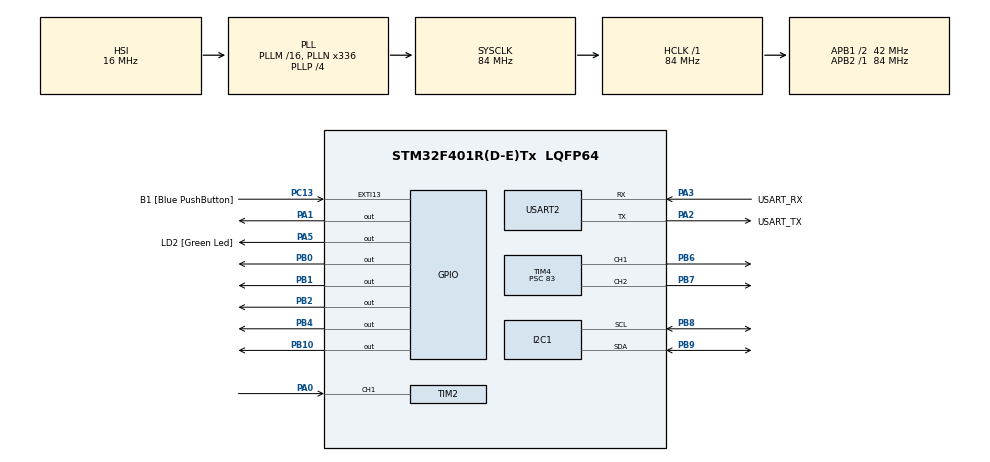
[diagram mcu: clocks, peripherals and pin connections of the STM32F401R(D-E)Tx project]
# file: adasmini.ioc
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Mcu.Family=STM32F4
PA2.GPIO_PuPd=GPIO_NOPULL
RCC.CortexFreq_Value=84000000
TIM2.Channel-Input_Capture1_from_TI1=TIM_CHANNEL_1
PA14.GPIO_Label=TCK
PA3.GPIO_PuPd=GPIO_NOPULL
PA2.GPIO_Speed=GPIO_SPEED_FREQ_LOW
PA3.GPIO_Speed=GPIO_SPEED_FREQ_LOW
RCC.SYSCLKSource=RCC_SYSCLKSOURCE_PLLCLK
ProjectManager.StackSize=0x400
TIM1.Prescaler=83
PH0\ -\ OSC_IN.Signal=RCC_OSC_IN
RCC.HCLKFreq_Value=84000000
RCC.APB2TimFreq_Value=84000000
PB6.Signal=S_TIM4_CH1
RCC.AHBFreq_Value=84000000
RCC.HSE_VALUE=8000000
PB2.Signal=GPIO_Output
PC13-ANTI_TAMP.Signal=GPXTI13
PC14-OSC32_IN.Mode=LSE-External-Oscillator
PA14.Mode=Serial_Wire
PA5.GPIO_PuPd=GPIO_NOPULL
NVIC.TIM2_IRQn=true\:0\:0\:false\:false\:true\:true\:true
SH.S_TIM4_CH2.0=TIM4_CH2,PWM Generation2 CH2
PB7.Signal=S_TIM4_CH2
TIM4.Period=999
VP_TIM1_VS_ClockSourceINT.Mode=Internal
PB9.Signal=I2C1_SDA
Mcu.Package=LQFP64
TIM2.Prescaler=83
PB1.Signal=GPIO_Output
USART2.VirtualMode=VM_ASYNC
PA2.GPIO_Label=USART_TX
SH.S_TIM4_CH1.0=TIM4_CH1,PWM Generation1 CH1
RCC.APB1TimFreq_Value=84000000
PB4.Signal=GPIO_Output
PA3.Signal=USART2_RX
PA2.GPIO_Mode=GPIO_MODE_AF_PP
PB3.GPIO_Label=SWO
TIM4.Channel-PWM\ Generation1\ CH1=TIM_CHANNEL_1
PC15-OSC32_OUT.Mode=LSE-External-Oscillator
PC13-ANTI_TAMP.GPIO_PuPd=GPIO_NOPULL
PC13-ANTI_TAMP.GPIO_Label=B1 [Blue PushButton]
PH1\ -\ OSC_OUT.Mode=HSE-External-Clock-Source
RCC.APB1CLKDivider=RCC_HCLK_DIV2
PC14-OSC32_IN.Signal=RCC_OSC32_IN
PA0-WKUP.Signal=S_TIM2_CH1_ETR
PA13.Signal=SYS_JTMS-SWDIO
PA3.Mode=Asynchronous
PH0\ -\ OSC_IN.Mode=HSE-External-Clock-Source
ProjectManager.TargetToolchain=STM32CubeIDE
PA3.GPIO_Mode=GPIO_MODE_AF_PP
PB9.Mode=I2C
TIM4.Prescaler=83
PC15-OSC32_OUT.Signal=RCC_OSC32_OUT
PA1.Signal=GPIO_Output
PB10.Signal=GPIO_Output
PA5.Signal=GPIO_Output
PH1\ -\ OSC_OUT.Signal=RCC_OSC_OUT
board=NUCLEO-F401RE
RCC.VCOOutputFreq_Value=336000000
TIM4.Channel-PWM\ Generation2\ CH2=TIM_CHANNEL_2
RCC.APB2Freq_Value=84000000
VP_TIM2_VS_ClockSourceINT.Mode=Internal
PA13.Mode=Serial_Wire
Mcu.Name=STM32F401R(D-E)Tx
PA13.GPIO_Label=TMS
PA2.Signal=USART2_TX
RCC.48MHZClocksFreq_Value=48000000
PB3.Signal=SYS_JTDO-SWO
RCC.SYSCLKFreq_VALUE=84000000
PA5.GPIO_Label=LD2 [Green Led]
PC13-ANTI_TAMP.GPIO_ModeDefaultEXTI=GPIO_MODE_IT_FALLING
SH.S_TIM2_CH1_ETR.0=TIM2_CH1,Input_Capture1_from_TI1
PA14.Signal=SYS_JTCK-SWCLK
ProjectManager.HeapSize=0x200
RCC.HSI_VALUE=16000000
VP_TIM4_VS_ClockSourceINT.Mode=Internal
RCC.PLLP=RCC_PLLP_DIV4
PA5.GPIO_Speed=GPIO_SPEED_FREQ_LOW
RCC.PLLQ=7
NVIC.PriorityGroup=NVIC_PRIORITYGROUP_0
PB8.Mode=I2C
RCC.PLLN=336
PA2.Mode=Asynchronous
PB8.Signal=I2C1_SCL
RCC.APB1Freq_Value=42000000
PA5.GPIO_Mode=GPIO_MODE_OUTPUT_PP
PB0.Signal=GPIO_Output
PA3.GPIO_Label=USART_RX

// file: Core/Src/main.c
/* USER CODE BEGIN Header */
/**
  * ****************************************************************************
  * @file           : main.c
  * @brief          : Main program body optimized for 16MHz System Clock
  * (Register-level logic with CubeMX Init)
  * ****************************************************************************
  */
/* USER CODE END Header */
#include "main.h"

/* USER CODE BEGIN Includes */
#include <stdio.h>
#include <string.h>
#include <math.h>
/* USER CODE END Includes */

/* USER CODE BEGIN PD */
#define SLAVE_ADDRESS_LCD (0x27 << 1)
/* USER CODE END PD */

I2C_HandleTypeDef hi2c1;

TIM_HandleTypeDef htim1;
TIM_HandleTypeDef htim2;
TIM_HandleTypeDef htim4;

UART_HandleTypeDef huart2;

/* USER CODE BEGIN PV */
volatile uint32_t IC_Val1 = 0;
volatile uint32_t IC_Val2 = 0;
volatile uint32_t Difference = 0;
volatile uint8_t Is_First_Captured = 0;
volatile int Distance_cm = 0;

#define MOTOR_RIGHT_CALIBRATION  0.91

int current_pwm = 0;     // Muc PWM hien tai (0 - 1000)
float v_current = 0.0;   // Toc do uoc luong (cm/s)
float d_safe = 0.0;      // Khoang cach an toan tinh toan
/* USER CODE END PV */

void SystemClock_Config(void);
static void MX_GPIO_Init(void);
static void MX_USART2_UART_Init(void);
static void MX_I2C1_Init(void);
static void MX_TIM1_Init(void);
static void MX_TIM2_Init(void);
static void MX_TIM4_Init(void);
/* USER CODE BEGIN PFP */
void delay_us(uint16_t us);
void HCSR04_Read(void);
void LCD_SendCommand(char cmd);
void LCD_SendData(char data);
void LCD_Init(void);
void LCD_SendString(char *str);
void LCD_Clear(void);
/* USER CODE END PFP */

int main(void)
{

  /* MCU Configuration--------------------------------------------------------*/

  /* Reset of all peripherals, Initializes the Flash interface and the Systick. */
  HAL_Init();

  /* Configure the system clock */
  SystemClock_Config();

  /* Initialize all configured peripherals */
  MX_GPIO_Init();
  MX_USART2_UART_Init();
  MX_I2C1_Init();
  MX_TIM1_Init();
  MX_TIM2_Init();
  MX_TIM4_Init();
  /* USER CODE BEGIN 2 */

  // 1. Khoi dong Timer delay va Ngat Input Capture bang THANH GHI
  TIM1->CR1 |= TIM_CR1_CEN;           // Bat Timer 1 (tuong duong HAL_TIM_Base_Start)

  // Cấu hình bắt CẢ HAI CẠNH (Both Edges): Set cả bit CC1P và CC1NP
    TIM2->CCER |= (TIM_CCER_CC1P | TIM_CCER_CC1NP);

  TIM2->CCER |= TIM_CCER_CC1E;        // Bat Input Capture Channel 1 tren TIM2
  TIM2->DIER |= TIM_DIER_CC1IE;       // Bat ngat cho Channel 1

  /* BỔ SUNG THÊM DÒNG NÀY �?Ể K�?CH HOẠT NGẮT TRÊN CPU */
    HAL_NVIC_SetPriority(TIM2_IRQn, 0, 0);
    HAL_NVIC_EnableIRQ(TIM2_IRQn);

  TIM2->CR1 |= TIM_CR1_CEN;           // Bat Timer 2

  // 2. Khoi dong ca 2 kenh xung PWM dieu khien L298N bang THANH GHI
  TIM4->CCER |= (TIM_CCER_CC1E | TIM_CCER_CC2E); // Bat Output CH1 va CH2
  TIM4->CR1 |= TIM_CR1_CEN;                      // Bat Timer 4

  // 3. Cau hinh huong quay TIEN mac dinh ban dau su dung THANH GHI BSRR
  // BSRR: 16 bit thap la SET (1), 16 bit cao la RESET (0)
  GPIOB->BSRR = GPIO_PIN_0;           // IN1 = 1 (SET PB0)
  GPIOB->BSRR = GPIO_PIN_1 << 16;     // IN2 = 0 (RESET PB1)
  GPIOB->BSRR = GPIO_PIN_2;           // IN3 = 1 (SET PB2)
  GPIOB->BSRR = GPIO_PIN_10 << 16;    // IN4 = 0 (RESET PB10)

  // 4. Khoi dong man hinh hien thi LCD
  LCD_Init();
  LCD_Clear();
  LCD_SendString("ADAS SYSTEM ON ");
  HAL_Delay(1000);
  LCD_Clear();

  uint32_t last_sensor_tick = 0;
  uint32_t last_lcd_tick = 0;
  uint32_t last_motor_tick = 0;

  /* USER CODE END 2 */

  /* Infinite loop */
  /* USER CODE BEGIN WHILE */
  while (1)
  {
      uint32_t current_tick = HAL_GetTick();
      float motor_right_calibration = 0.91f;

      // KHOI 1: CAP NHAT KHOANG CACH (Moi 60ms)
      if (current_tick - last_sensor_tick >= 60)
      {
          last_sensor_tick = current_tick;
          HCSR04_Read();
      }

      // KHOI 2: XU LY TRANG THAI & CANH BAO (Moi 50ms)
      if (current_tick - last_motor_tick >= 50)
      {
          last_motor_tick = current_tick;

          // Out of range
          if (Distance_cm < 2 || Distance_cm > 400)
          {
              GPIOA->BSRR = GPIO_PIN_5 << 16; // Tat LED (RESET PA5)
              GPIOB->BSRR = GPIO_PIN_4 << 16; // Tat Buzzer (RESET PB4)
              current_pwm = 0;
          }
          // DANGER ZONE: < 50 cm
          else if (Distance_cm < 50)
          {
              GPIOA->BSRR = GPIO_PIN_5;       // Bat LED (SET PA5)
              GPIOB->BSRR = GPIO_PIN_4;       // Bat Buzzer (SET PB4)
              current_pwm = 0;
          }
          // WARNING ZONE: 50 cm - 100 cm
          else if (Distance_cm <= 100)
          {
              GPIOA->BSRR = GPIO_PIN_5;       // Bat LED
              GPIOB->BSRR = GPIO_PIN_4 << 16; // Tat Buzzer
              current_pwm = 500;
          }
          // SAFE ZONE: > 100 cm
          else
          {
              GPIOA->BSRR = GPIO_PIN_5 << 16; // Tat LED
              GPIOB->BSRR = GPIO_PIN_4 << 16; // Tat Buzzer
              current_pwm = 600;
          }

          // CAN BANG TOC DO 2 BANH TAI
          int pwm_left  = current_pwm;
          int pwm_right = (int)(current_pwm * motor_right_calibration);

          if (pwm_right < 0)   pwm_right = 0;
          if (pwm_right > 999) pwm_right = 999;

          // Cap nhat PWM truc tiep qua thanh ghi CCR (Capture/Compare Register)
          TIM4->CCR1 = pwm_left;  // Banh trai
          TIM4->CCR2 = pwm_right; // Banh phai
      }

      // KHOI 3: GIAO DIEN HIEN THI LCD (Moi 200ms)
      if (current_tick - last_lcd_tick >= 200)
      {
          last_lcd_tick = current_tick;
          char lcd_buf[17];

          LCD_SendCommand(0x80);
          if (Distance_cm < 2 || Distance_cm > 400) {
              sprintf(lcd_buf, "Dist: Out Range ");
          } else {
              sprintf(lcd_buf, "Dist: %3d cm    ", Distance_cm);
          }
          LCD_SendString(lcd_buf);

          LCD_SendCommand(0xC0);
          if (Distance_cm < 2 || Distance_cm > 400) {
              sprintf(lcd_buf, "Status: Error   ");
          } else if (Distance_cm < 50) {
              sprintf(lcd_buf, "Status: Danger  ");
          } else if (Distance_cm <= 100) {
              sprintf(lcd_buf, "Status: Warning ");
          } else {
              sprintf(lcd_buf, "Status: Safe    ");
          }
          LCD_SendString(lcd_buf);
      }

    /* USER CODE END WHILE */

  }
}

void SystemClock_Config(void)
{
  RCC_OscInitTypeDef RCC_OscInitStruct = {0};
  RCC_ClkInitTypeDef RCC_ClkInitStruct = {0};

  /** Configure the main internal regulator output voltage
  */
  __HAL_RCC_PWR_CLK_ENABLE();
  __HAL_PWR_VOLTAGESCALING_CONFIG(PWR_REGULATOR_VOLTAGE_SCALE2);
  /** Initializes the RCC Oscillators according to the specified parameters
  * in the RCC_OscInitTypeDef structure.
  */
  RCC_OscInitStruct.OscillatorType = RCC_OSCILLATORTYPE_HSI;
  RCC_OscInitStruct.HSIState = RCC_HSI_ON;
  RCC_OscInitStruct.HSICalibrationValue = RCC_HSICALIBRATION_DEFAULT;
  RCC_OscInitStruct.PLL.PLLState = RCC_PLL_ON;
  RCC_OscInitStruct.PLL.PLLSource = RCC_PLLSOURCE_HSI;
  RCC_OscInitStruct.PLL.PLLM = 16;
  RCC_OscInitStruct.PLL.PLLN = 336;
  RCC_OscInitStruct.PLL.PLLP = RCC_PLLP_DIV4;
  RCC_OscInitStruct.PLL.PLLQ = 7;
  if (HAL_RCC_OscConfig(&RCC_OscInitStruct) != HAL_OK)
  {
    Error_Handler();
  }
  /** Initializes the CPU, AHB and APB buses clocks
  */
  RCC_ClkInitStruct.ClockType = RCC_CLOCKTYPE_HCLK|RCC_CLOCKTYPE_SYSCLK
                              |RCC_CLOCKTYPE_PCLK1|RCC_CLOCKTYPE_PCLK2;
  RCC_ClkInitStruct.SYSCLKSource = RCC_SYSCLKSOURCE_PLLCLK;
  RCC_ClkInitStruct.AHBCLKDivider = RCC_SYSCLK_DIV1;
  RCC_ClkInitStruct.APB1CLKDivider = RCC_HCLK_DIV2;
  RCC_ClkInitStruct.APB2CLKDivider = RCC_HCLK_DIV1;

  if (HAL_RCC_ClockConfig(&RCC_ClkInitStruct, FLASH_LATENCY_2) != HAL_OK)
  {
    Error_Handler();
  }
}

static void MX_I2C1_Init(void)
{

  hi2c1.Instance = I2C1;
  hi2c1.Init.ClockSpeed = 100000;
  hi2c1.Init.DutyCycle = I2C_DUTYCYCLE_2;
  hi2c1.Init.OwnAddress1 = 0;
  hi2c1.Init.AddressingMode = I2C_ADDRESSINGMODE_7BIT;
  hi2c1.Init.DualAddressMode = I2C_DUALADDRESS_DISABLE;
  hi2c1.Init.OwnAddress2 = 0;
  hi2c1.Init.GeneralCallMode = I2C_GENERALCALL_DISABLE;
  hi2c1.Init.NoStretchMode = I2C_NOSTRETCH_DISABLE;
  if (HAL_I2C_Init(&hi2c1) != HAL_OK)
  {
    Error_Handler();
  }

}

static void MX_TIM1_Init(void)
{

  TIM_ClockConfigTypeDef sClockSourceConfig = {0};
  TIM_MasterConfigTypeDef sMasterConfig = {0};

  htim1.Instance = TIM1;
  htim1.Init.Prescaler = 83;
  htim1.Init.CounterMode = TIM_COUNTERMODE_UP;
  htim1.Init.Period = 65535;
  htim1.Init.ClockDivision = TIM_CLOCKDIVISION_DIV1;
  htim1.Init.RepetitionCounter = 0;
  htim1.Init.AutoReloadPreload = TIM_AUTORELOAD_PRELOAD_DISABLE;
  if (HAL_TIM_Base_Init(&htim1) != HAL_OK)
  {
    Error_Handler();
  }
  sClockSourceConfig.ClockSource = TIM_CLOCKSOURCE_INTERNAL;
  if (HAL_TIM_ConfigClockSource(&htim1, &sClockSourceConfig) != HAL_OK)
  {
    Error_Handler();
  }
  sMasterConfig.MasterOutputTrigger = TIM_TRGO_RESET;
  sMasterConfig.MasterSlaveMode = TIM_MASTERSLAVEMODE_DISABLE;
  if (HAL_TIMEx_MasterConfigSynchronization(&htim1, &sMasterConfig) != HAL_OK)
  {
    Error_Handler();
  }

}

static void MX_TIM2_Init(void)
{

  TIM_ClockConfigTypeDef sClockSourceConfig = {0};
  TIM_MasterConfigTypeDef sMasterConfig = {0};
  TIM_IC_InitTypeDef sConfigIC = {0};

  htim2.Instance = TIM2;
  htim2.Init.Prescaler = 83;
  htim2.Init.CounterMode = TIM_COUNTERMODE_UP;
  htim2.Init.Period = 4294967295;
  htim2.Init.ClockDivision = TIM_CLOCKDIVISION_DIV1;
  htim2.Init.AutoReloadPreload = TIM_AUTORELOAD_PRELOAD_DISABLE;
  if (HAL_TIM_Base_Init(&htim2) != HAL_OK)
  {
    Error_Handler();
  }
  sClockSourceConfig.ClockSource = TIM_CLOCKSOURCE_INTERNAL;
  if (HAL_TIM_ConfigClockSource(&htim2, &sClockSourceConfig) != HAL_OK)
  {
    Error_Handler();
  }
  if (HAL_TIM_IC_Init(&htim2) != HAL_OK)
  {
    Error_Handler();
  }
  sMasterConfig.MasterOutputTrigger = TIM_TRGO_RESET;
  sMasterConfig.MasterSlaveMode = TIM_MASTERSLAVEMODE_DISABLE;
  if (HAL_TIMEx_MasterConfigSynchronization(&htim2, &sMasterConfig) != HAL_OK)
  {
    Error_Handler();
  }
  sConfigIC.ICPolarity = TIM_INPUTCHANNELPOLARITY_RISING;
  sConfigIC.ICSelection = TIM_ICSELECTION_DIRECTTI;
  sConfigIC.ICPrescaler = TIM_ICPSC_DIV1;
  sConfigIC.ICFilter = 0;
  if (HAL_TIM_IC_ConfigChannel(&htim2, &sConfigIC, TIM_CHANNEL_1) != HAL_OK)
  {
    Error_Handler();
  }

}

static void MX_TIM4_Init(void)
{

  TIM_ClockConfigTypeDef sClockSourceConfig = {0};
  TIM_MasterConfigTypeDef sMasterConfig = {0};
  TIM_OC_InitTypeDef sConfigOC = {0};

  htim4.Instance = TIM4;
  htim4.Init.Prescaler = 83;
  htim4.Init.CounterMode = TIM_COUNTERMODE_UP;
  htim4.Init.Period = 999;
  htim4.Init.ClockDivision = TIM_CLOCKDIVISION_DIV1;
  htim4.Init.AutoReloadPreload = TIM_AUTORELOAD_PRELOAD_DISABLE;
  if (HAL_TIM_Base_Init(&htim4) != HAL_OK)
  {
    Error_Handler();
  }
  sClockSourceConfig.ClockSource = TIM_CLOCKSOURCE_INTERNAL;
  if (HAL_TIM_ConfigClockSource(&htim4, &sClockSourceConfig) != HAL_OK)
  {
    Error_Handler();
  }
  if (HAL_TIM_PWM_Init(&htim4) != HAL_OK)
  {
    Error_Handler();
  }
  sMasterConfig.MasterOutputTrigger = TIM_TRGO_RESET;
  sMasterConfig.MasterSlaveMode = TIM_MASTERSLAVEMODE_DISABLE;
  if (HAL_TIMEx_MasterConfigSynchronization(&htim4, &sMasterConfig) != HAL_OK)
  {
    Error_Handler();
  }
  sConfigOC.OCMode = TIM_OCMODE_PWM1;
  sConfigOC.Pulse = 0;
  sConfigOC.OCPolarity = TIM_OCPOLARITY_HIGH;
  sConfigOC.OCFastMode = TIM_OCFAST_DISABLE;
  if (HAL_TIM_PWM_ConfigChannel(&htim4, &sConfigOC, TIM_CHANNEL_1) != HAL_OK)
  {
    Error_Handler();
  }
  if (HAL_TIM_PWM_ConfigChannel(&htim4, &sConfigOC, TIM_CHANNEL_2) != HAL_OK)
  {
    Error_Handler();
  }
  HAL_TIM_MspPostInit(&htim4);

}

static void MX_USART2_UART_Init(void)
{

  huart2.Instance = USART2;
  huart2.Init.BaudRate = 115200;
  huart2.Init.WordLength = UART_WORDLENGTH_8B;
  huart2.Init.StopBits = UART_STOPBITS_1;
  huart2.Init.Parity = UART_PARITY_NONE;
  huart2.Init.Mode = UART_MODE_TX_RX;
  huart2.Init.HwFlowCtl = UART_HWCONTROL_NONE;
  huart2.Init.OverSampling = UART_OVERSAMPLING_16;
  if (HAL_UART_Init(&huart2) != HAL_OK)
  {
    Error_Handler();
  }

}

static void MX_GPIO_Init(void)
{
  GPIO_InitTypeDef GPIO_InitStruct = {0};

  /* GPIO Ports Clock Enable */
  __HAL_RCC_GPIOC_CLK_ENABLE();
  __HAL_RCC_GPIOH_CLK_ENABLE();
  __HAL_RCC_GPIOA_CLK_ENABLE();
  __HAL_RCC_GPIOB_CLK_ENABLE();

  /*Configure GPIO pin Output Level */
  HAL_GPIO_WritePin(GPIOA, GPIO_PIN_1|LD2_Pin, GPIO_PIN_RESET);

  /*Configure GPIO pin Output Level */
  HAL_GPIO_WritePin(GPIOB, GPIO_PIN_0|GPIO_PIN_1|GPIO_PIN_2|GPIO_PIN_10
                          |GPIO_PIN_4, GPIO_PIN_RESET);

  /*Configure GPIO pin : B1_Pin */
  GPIO_InitStruct.Pin = B1_Pin;
  GPIO_InitStruct.Mode = GPIO_MODE_IT_FALLING;
  GPIO_InitStruct.Pull = GPIO_NOPULL;
  HAL_GPIO_Init(B1_GPIO_Port, &GPIO_InitStruct);

  /*Configure GPIO pins : PA1 LD2_Pin */
  GPIO_InitStruct.Pin = GPIO_PIN_1|LD2_Pin;
  GPIO_InitStruct.Mode = GPIO_MODE_OUTPUT_PP;
  GPIO_InitStruct.Pull = GPIO_NOPULL;
  GPIO_InitStruct.Speed = GPIO_SPEED_FREQ_LOW;
  HAL_GPIO_Init(GPIOA, &GPIO_InitStruct);

  /*Configure GPIO pins : PB0 PB1 PB2 PB10
                           PB4 */
  GPIO_InitStruct.Pin = GPIO_PIN_0|GPIO_PIN_1|GPIO_PIN_2|GPIO_PIN_10
                          |GPIO_PIN_4;
  GPIO_InitStruct.Mode = GPIO_MODE_OUTPUT_PP;
  GPIO_InitStruct.Pull = GPIO_NOPULL;
  GPIO_InitStruct.Speed = GPIO_SPEED_FREQ_LOW;
  HAL_GPIO_Init(GPIOB, &GPIO_InitStruct);

}

/* USER CODE BEGIN 4 */

// Toi uu delay_us bang thanh ghi CNT (Counter)
void delay_us(uint16_t us)
{
    TIM1->CNT = 0;
    while (TIM1->CNT < us);
}

// Toi uu doc HCSR04 bang thanh ghi BSRR
void HCSR04_Read(void)
{
    GPIOA->BSRR = GPIO_PIN_1;       // SET PA1 (Chân Trig)
    delay_us(10);
    GPIOA->BSRR = GPIO_PIN_1 << 16; // RESET PA1
}

// Toi uu Input Capture ngat bang thanh ghi
void HAL_TIM_IC_CaptureCallback(TIM_HandleTypeDef *htim)
{
    if (htim->Instance == TIM2)
    {
        if (Is_First_Captured == 0)
        {
            // Doc gia tri truc tiep tu thanh ghi CCR1
            IC_Val1 = TIM2->CCR1;
            Is_First_Captured = 1;

            // Doi cuc ngat (Polarity) sang Falling Edge
            // Xoa bit CC1NP va Set bit CC1P
            TIM2->CCER &= ~TIM_CCER_CC1NP;
            TIM2->CCER |= TIM_CCER_CC1P;
        }
        else if (Is_First_Captured == 1)
        {
            IC_Val2 = TIM2->CCR1;

            if (IC_Val2 > IC_Val1)
            {
                Difference = IC_Val2 - IC_Val1;
            }
            else if (IC_Val1 > IC_Val2)
            {
                // Dung ARR (Auto-Reload Register) de tinh toan khi tran timer
                Difference = (TIM2->ARR - IC_Val1) + IC_Val2;
            }

            Distance_cm = Difference / 58;
            Is_First_Captured = 0;

            // Doi cuc ngat (Polarity) ve Rising Edge
            // Xoa ca bit CC1P va CC1NP
            TIM2->CCER &= ~(TIM_CCER_CC1P | TIM_CCER_CC1NP);
        }
    }
}

void LCD_SendCommand(char cmd)
{
    char data_u, data_l;
    uint8_t data_t[4];
    data_u = (cmd & 0xf0);
    data_l = ((cmd << 4) & 0xf0);
    data_t[0] = data_u | 0x0C;
    data_t[1] = data_u | 0x08;
    data_t[2] = data_l | 0x0C;
    data_t[3] = data_l | 0x08;
    HAL_I2C_Master_Transmit(&hi2c1, SLAVE_ADDRESS_LCD, data_t, 4, 100);
}

void LCD_SendData(char data)
{
    char data_u, data_l;
    uint8_t data_t[4];
    data_u = (data & 0xf0);
    data_l = ((data << 4) & 0xf0);
    data_t[0] = data_u | 0x0D;
    data_t[1] = data_u | 0x09;
    data_t[2] = data_l | 0x0D;
    data_t[3] = data_l | 0x09;
    HAL_I2C_Master_Transmit(&hi2c1, SLAVE_ADDRESS_LCD, data_t, 4, 100);
}

void LCD_Init(void)
{
    HAL_Delay(50);
    LCD_SendCommand(0x30);
    HAL_Delay(5);
    LCD_SendCommand(0x30);
    HAL_Delay(1);
    LCD_SendCommand(0x30);
    HAL_Delay(10);
    LCD_SendCommand(0x20);
    HAL_Delay(10);
    LCD_SendCommand(0x28);
    HAL_Delay(1);
    LCD_SendCommand(0x0C);
    HAL_Delay(1);
    LCD_SendCommand(0x06);
    HAL_Delay(1);
    LCD_SendCommand(0x01);
    HAL_Delay(2);
}

void LCD_SendString(char *str)
{
    while (*str) LCD_SendData(*str++);
}

void LCD_Clear(void)
{
    LCD_SendCommand(0x01);
    HAL_Delay(2);
}
/* USER CODE END 4 */

void Error_Handler(void)
{
  __disable_irq();
  while (1)
  {
  }
}

/************************ (C) COPYRIGHT STMicroelectronics *****END OF FILE****/
